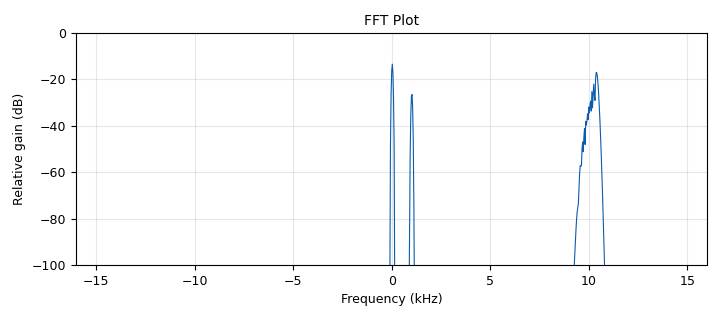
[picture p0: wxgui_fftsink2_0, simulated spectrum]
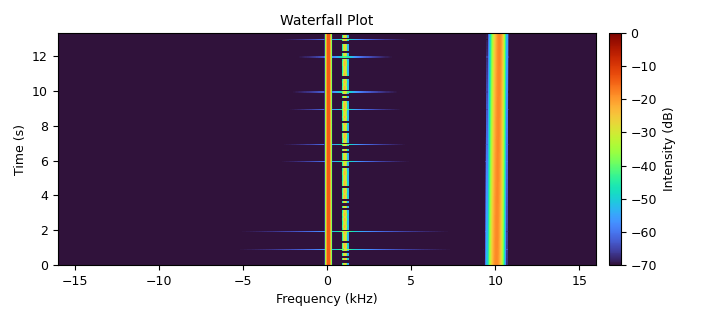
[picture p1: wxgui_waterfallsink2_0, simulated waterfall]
<?xml version='1.0' encoding='utf-8'?>
<flow_graph>
<block>
<key>options</key>
<param><key>id</key><value>top_block</value></param>
<param><key>generate_options</key><value>wx_gui</value></param>
<param><key>category</key><value>Custom</value></param>
</block>
<block>
<key>parameter</key>
<param><key>id</key><value>pi</value></param>
<param><key>value</key><value>3.1415926535</value></param>
</block>
<block>
<key>variable</key>
<param><key>id</key><value>samp_rate</value></param>
<param><key>value</key><value>32000</value></param>
</block>
<block>
<key>blocks_multiply_const_vxx</key>
<param><key>id</key><value>blocks_multiply_const_vxx_2</value></param>
<param><key>type</key><value>complex</value></param>
<param><key>const</key><value>0.3</value></param>
</block>
<block>
<key>blocks_multiply_const_vxx</key>
<param><key>id</key><value>blocks_multiply_const_vxx_1</value></param>
<param><key>type</key><value>complex</value></param>
<param><key>const</key><value>0.07</value></param>
</block>
<block>
<key>analog_sig_source_x</key>
<param><key>id</key><value>analog_sig_source_x_3</value></param>
<param><key>type</key><value>complex</value></param>
<param><key>samp_rate</key><value>samp_rate</value></param>
<param><key>waveform</key><value>analog.GR_COS_WAVE</value></param>
<param><key>freq</key><value>1020</value></param>
<param><key>amp</key><value>1</value></param>
<param><key>offset</key><value>0</value></param>
</block>
<block>
<key>blocks_multiply_xx</key>
<param><key>id</key><value>blocks_multiply_xx_1</value></param>
<param><key>type</key><value>complex</value></param>
</block>
<block>
<key>blocks_repeat</key>
<param><key>id</key><value>blocks_repeat_0</value></param>
<param><key>type</key><value>complex</value></param>
<param><key>interp</key><value>samp_rate/8</value></param>
</block>
<block>
<key>blocks_interleaved_short_to_complex</key>
<param><key>id</key><value>blocks_interleaved_short_to_complex_0</value></param>
</block>
<block>
<key>blocks_throttle</key>
<param><key>id</key><value>blocks_throttle_0</value></param>
<param><key>type</key><value>short</value></param>
<param><key>samples_per_second</key><value>1</value></param>
</block>
<block>
<key>analog_random_source_x</key>
<param><key>id</key><value>analog_random_source_x_0</value></param>
<param><key>type</key><value>short</value></param>
<param><key>min</key><value>0</value></param>
<param><key>max</key><value>2</value></param>
<param><key>num_samps</key><value>100</value></param>
<param><key>repeat</key><value>True</value></param>
</block>
<block>
<key>blocks_multiply_const_vxx</key>
<param><key>id</key><value>blocks_multiply_const_vxx_0</value></param>
<param><key>type</key><value>complex</value></param>
<param><key>const</key><value>0.3</value></param>
</block>
<block>
<key>analog_sig_source_x</key>
<param><key>id</key><value>analog_sig_source_x_2</value></param>
<param><key>type</key><value>complex</value></param>
<param><key>samp_rate</key><value>samp_rate</value></param>
<param><key>waveform</key><value>analog.GR_COS_WAVE</value></param>
<param><key>freq</key><value>9960</value></param>
<param><key>amp</key><value>1</value></param>
<param><key>offset</key><value>0</value></param>
</block>
<block>
<key>blocks_multiply_xx</key>
<param><key>id</key><value>blocks_multiply_xx_0</value></param>
<param><key>type</key><value>complex</value></param>
</block>
<block>
<key>analog_sig_source_x</key>
<param><key>id</key><value>analog_sig_source_x_0</value></param>
<param><key>type</key><value>complex</value></param>
<param><key>samp_rate</key><value>samp_rate</value></param>
<param><key>waveform</key><value>analog.GR_COS_WAVE</value></param>
<param><key>freq</key><value>30</value></param>
<param><key>amp</key><value>1</value></param>
<param><key>offset</key><value>0</value></param>
</block>
<block>
<key>analog_sig_source_x</key>
<param><key>id</key><value>analog_sig_source_x_1</value></param>
<param><key>type</key><value>float</value></param>
<param><key>samp_rate</key><value>samp_rate</value></param>
<param><key>waveform</key><value>analog.GR_COS_WAVE</value></param>
<param><key>freq</key><value>30</value></param>
<param><key>amp</key><value>1</value></param>
<param><key>offset</key><value>0</value></param>
</block>
<block>
<key>blocks_add_xx</key>
<param><key>id</key><value>blocks_add_xx_0</value></param>
<param><key>type</key><value>complex</value></param>
<param><key>num_inputs</key><value>3</value></param>
</block>
<block>
<key>rational_resampler_xxx</key>
<param><key>id</key><value>rational_resampler_xxx_0</value></param>
<param><key>type</key><value>ccc</value></param>
<param><key>decim</key><value>32</value></param>
<param><key>interp</key><value>48</value></param>
<param><key>fractional_bw</key><value>0</value></param>
</block>
<block>
<key>analog_const_source_x</key>
<param><key>id</key><value>analog_const_source_x_0</value></param>
<param><key>type</key><value>complex</value></param>
<param><key>const</key><value>0</value></param>
</block>
<block>
<key>analog_frequency_modulator_fc</key>
<param><key>id</key><value>analog_frequency_modulator_fc_0</value></param>
<param><key>sensitivity</key><value>(2*pi)*480/samp_rate</value></param>
</block>
<block>
<key>blocks_add_xx</key>
<param><key>id</key><value>blocks_add_xx_1</value></param>
<param><key>type</key><value>complex</value></param>
</block>
<block>
<key>blocks_throttle</key>
<param><key>id</key><value>blocks_throttle_2</value></param>
<param><key>type</key><value>complex</value></param>
<param><key>samples_per_second</key><value>samp_rate</value></param>
</block>
<block>
<key>wxgui_fftsink2</key>
<param><key>id</key><value>wxgui_fftsink2_0</value></param>
<param><key>type</key><value>complex</value></param>
<param><key>title</key><value>FFT Plot</value></param>
<param><key>samp_rate</key><value>samp_rate</value></param>
<param><key>baseband_freq</key><value>0</value></param>
<param><key>y_per_div</key><value>10</value></param>
<param><key>y_divs</key><value>10</value></param>
<param><key>ref_level</key><value>0</value></param>
<param><key>ref_scale</key><value>2.0</value></param>
<param><key>fft_size</key><value>1024</value></param>
<param><key>fft_rate</key><value>15</value></param>
<param><key>peak_hold</key><value>False</value></param>
<param><key>average</key><value>False</value></param>
<param><key>avg_alpha</key><value>0</value></param>
<param><key>win</key><value>None</value></param>
<param><key>freqvar</key><value>None</value></param>
</block>
<block>
<key>wxgui_waterfallsink2</key>
<param><key>id</key><value>wxgui_waterfallsink2_0</value></param>
<param><key>type</key><value>complex</value></param>
<param><key>title</key><value>Waterfall Plot</value></param>
<param><key>samp_rate</key><value>samp_rate</value></param>
<param><key>baseband_freq</key><value>0</value></param>
<param><key>dynamic_range</key><value>70</value></param>
<param><key>ref_level</key><value>0</value></param>
<param><key>ref_scale</key><value>2.0</value></param>
<param><key>fft_size</key><value>512</value></param>
<param><key>fft_rate</key><value>15</value></param>
<param><key>average</key><value>False</value></param>
<param><key>avg_alpha</key><value>0</value></param>
<param><key>win</key><value>None</value></param>
<param><key>freqvar</key><value>None</value></param>
</block>
<block>
<key>blocks_complex_to_float</key>
<param><key>id</key><value>blocks_complex_to_float_0</value></param>
</block>
<block>
<key>audio_sink</key>
<param><key>id</key><value>audio_sink_0</value></param>
<param><key>samp_rate</key><value>48000</value></param>
<param><key>num_inputs</key><value>2</value></param>
</block>
<connection><source_block_id>blocks_add_xx_0</source_block_id><sink_block_id>blocks_throttle_2</sink_block_id><source_key>0</source_key><sink_key>0</sink_key></connection>
<connection><source_block_id>blocks_throttle_2</source_block_id><sink_block_id>wxgui_waterfallsink2_0</sink_block_id><source_key>0</source_key><sink_key>0</sink_key></connection>
<connection><source_block_id>blocks_throttle_2</source_block_id><sink_block_id>wxgui_fftsink2_0</sink_block_id><source_key>0</source_key><sink_key>0</sink_key></connection>
<connection><source_block_id>blocks_complex_to_float_0</source_block_id><sink_block_id>audio_sink_0</sink_block_id><source_key>0</source_key><sink_key>0</sink_key></connection>
<connection><source_block_id>blocks_complex_to_float_0</source_block_id><sink_block_id>audio_sink_0</sink_block_id><source_key>1</source_key><sink_key>1</sink_key></connection>
<connection><source_block_id>blocks_throttle_2</source_block_id><sink_block_id>rational_resampler_xxx_0</sink_block_id><source_key>0</source_key><sink_key>0</sink_key></connection>
<connection><source_block_id>rational_resampler_xxx_0</source_block_id><sink_block_id>blocks_complex_to_float_0</sink_block_id><source_key>0</source_key><sink_key>0</sink_key></connection>
<connection><source_block_id>blocks_multiply_xx_0</source_block_id><sink_block_id>blocks_multiply_const_vxx_2</sink_block_id><source_key>0</source_key><sink_key>0</sink_key></connection>
<connection><source_block_id>blocks_add_xx_1</source_block_id><sink_block_id>blocks_multiply_xx_0</sink_block_id><source_key>0</source_key><sink_key>0</sink_key></connection>
<connection><source_block_id>analog_sig_source_x_2</source_block_id><sink_block_id>blocks_multiply_xx_0</sink_block_id><source_key>0</source_key><sink_key>1</sink_key></connection>
<connection><source_block_id>analog_const_source_x_0</source_block_id><sink_block_id>blocks_add_xx_1</sink_block_id><source_key>0</source_key><sink_key>1</sink_key></connection>
<connection><source_block_id>analog_frequency_modulator_fc_0</source_block_id><sink_block_id>blocks_add_xx_1</sink_block_id><source_key>0</source_key><sink_key>0</sink_key></connection>
<connection><source_block_id>analog_sig_source_x_1</source_block_id><sink_block_id>analog_frequency_modulator_fc_0</sink_block_id><source_key>0</source_key><sink_key>0</sink_key></connection>
<connection><source_block_id>blocks_multiply_const_vxx_2</source_block_id><sink_block_id>blocks_add_xx_0</sink_block_id><source_key>0</source_key><sink_key>2</sink_key></connection>
<connection><source_block_id>analog_sig_source_x_3</source_block_id><sink_block_id>blocks_multiply_xx_1</sink_block_id><source_key>0</source_key><sink_key>1</sink_key></connection>
<connection><source_block_id>blocks_interleaved_short_to_complex_0</source_block_id><sink_block_id>blocks_repeat_0</sink_block_id><source_key>0</source_key><sink_key>0</sink_key></connection>
<connection><source_block_id>blocks_throttle_0</source_block_id><sink_block_id>blocks_interleaved_short_to_complex_0</sink_block_id><source_key>0</source_key><sink_key>0</sink_key></connection>
<connection><source_block_id>blocks_multiply_xx_1</source_block_id><sink_block_id>blocks_multiply_const_vxx_1</sink_block_id><source_key>0</source_key><sink_key>0</sink_key></connection>
<connection><source_block_id>blocks_repeat_0</source_block_id><sink_block_id>blocks_multiply_xx_1</sink_block_id><source_key>0</source_key><sink_key>0</sink_key></connection>
<connection><source_block_id>analog_random_source_x_0</source_block_id><sink_block_id>blocks_throttle_0</sink_block_id><source_key>0</source_key><sink_key>0</sink_key></connection>
<connection><source_block_id>analog_sig_source_x_0</source_block_id><sink_block_id>blocks_multiply_const_vxx_0</sink_block_id><source_key>0</source_key><sink_key>0</sink_key></connection>
<connection><source_block_id>blocks_multiply_const_vxx_1</source_block_id><sink_block_id>blocks_add_xx_0</sink_block_id><source_key>0</source_key><sink_key>1</sink_key></connection>
<connection><source_block_id>blocks_multiply_const_vxx_0</source_block_id><sink_block_id>blocks_add_xx_0</sink_block_id><source_key>0</source_key><sink_key>0</sink_key></connection>
</flow_graph>
